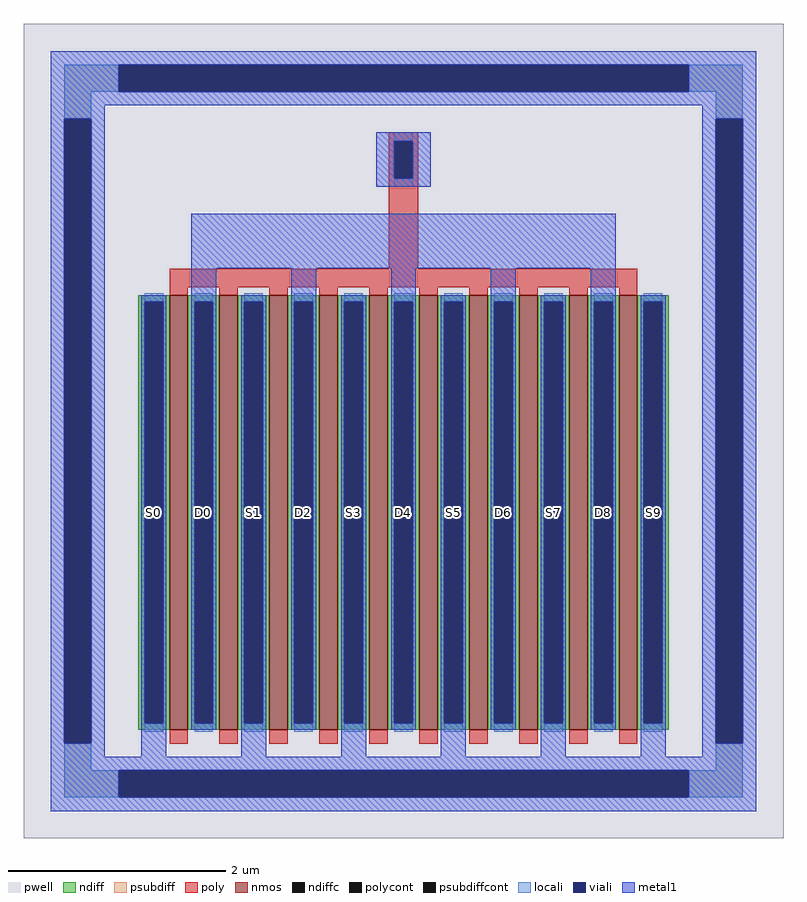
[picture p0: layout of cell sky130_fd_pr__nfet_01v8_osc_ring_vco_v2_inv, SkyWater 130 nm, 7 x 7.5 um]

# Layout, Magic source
magic
tech sky130A
magscale 1 2
<< pwell >>
rect -631 -5491 769 -3991
<< nmos >>
rect -362 -5291 -328 -4491
rect -270 -5291 -236 -4491
rect -178 -5291 -144 -4491
rect -86 -5291 -52 -4491
rect 6 -5291 40 -4491
rect 98 -5291 132 -4491
rect 190 -5291 224 -4491
rect 282 -5291 316 -4491
rect 374 -5291 408 -4491
rect 466 -5291 500 -4491
<< ndiff >>
rect -420 -4503 -362 -4491
rect -420 -5279 -408 -4503
rect -374 -5279 -362 -4503
rect -420 -5291 -362 -5279
rect -328 -4503 -270 -4491
rect -328 -5279 -316 -4503
rect -282 -5279 -270 -4503
rect -328 -5291 -270 -5279
rect -236 -4503 -178 -4491
rect -236 -5279 -224 -4503
rect -190 -5279 -178 -4503
rect -236 -5291 -178 -5279
rect -144 -4503 -86 -4491
rect -144 -5279 -132 -4503
rect -98 -5279 -86 -4503
rect -144 -5291 -86 -5279
rect -52 -4503 6 -4491
rect -52 -5279 -40 -4503
rect -6 -5279 6 -4503
rect -52 -5291 6 -5279
rect 40 -4503 98 -4491
rect 40 -5279 52 -4503
rect 86 -5279 98 -4503
rect 40 -5291 98 -5279
rect 132 -4503 190 -4491
rect 132 -5279 144 -4503
rect 178 -5279 190 -4503
rect 132 -5291 190 -5279
rect 224 -4503 282 -4491
rect 224 -5279 236 -4503
rect 270 -5279 282 -4503
rect 224 -5291 282 -5279
rect 316 -4503 374 -4491
rect 316 -5279 328 -4503
rect 362 -5279 374 -4503
rect 316 -5291 374 -5279
rect 408 -4503 466 -4491
rect 408 -5279 420 -4503
rect 454 -5279 466 -4503
rect 408 -5291 466 -5279
rect 500 -4503 558 -4491
rect 500 -5279 512 -4503
rect 546 -5279 558 -4503
rect 500 -5291 558 -5279
<< ndiffc >>
rect -408 -5279 -374 -4503
rect -316 -5279 -282 -4503
rect -224 -5279 -190 -4503
rect -132 -5279 -98 -4503
rect -40 -5279 -6 -4503
rect 52 -5279 86 -4503
rect 144 -5279 178 -4503
rect 236 -5279 270 -4503
rect 328 -5279 362 -4503
rect 420 -5279 454 -4503
rect 512 -5279 546 -4503
<< psubdiff >>
rect -556 -4116 -456 -4066
rect 594 -4116 694 -4066
rect -556 -4166 -506 -4116
rect 644 -4166 694 -4116
rect -556 -5366 -506 -5316
rect 644 -5366 694 -5316
rect -556 -5416 -456 -5366
rect 594 -5416 694 -5366
<< psubdiffcont >>
rect -456 -4116 594 -4066
rect -556 -5316 -506 -4166
rect 644 -5316 694 -4166
rect -456 -5416 594 -5366
<< poly >>
rect 42 -4207 96 -4191
rect 42 -4275 52 -4207
rect 86 -4275 96 -4207
rect 42 -4442 96 -4275
rect -362 -4476 500 -4442
rect -362 -4491 -328 -4476
rect -270 -4491 -236 -4476
rect -178 -4491 -144 -4476
rect -86 -4491 -52 -4476
rect 6 -4491 40 -4476
rect 98 -4491 132 -4476
rect 190 -4491 224 -4476
rect 282 -4491 316 -4476
rect 374 -4491 408 -4476
rect 466 -4491 500 -4476
rect -362 -5317 -328 -5291
rect -270 -5317 -236 -5291
rect -178 -5317 -144 -5291
rect -86 -5317 -52 -5291
rect 6 -5317 40 -5291
rect 98 -5317 132 -5291
rect 190 -5317 224 -5291
rect 282 -5317 316 -5291
rect 374 -5317 408 -5291
rect 466 -5317 500 -5291
<< polycont >>
rect 52 -4275 86 -4207
<< locali >>
rect -556 -4116 -456 -4066
rect 594 -4116 694 -4066
rect -556 -4166 -506 -4116
rect 644 -4166 694 -4116
rect 52 -4207 86 -4191
rect 52 -4291 86 -4275
rect -408 -4503 -374 -4487
rect -408 -5295 -374 -5279
rect -316 -4503 -282 -4487
rect -316 -5295 -282 -5279
rect -224 -4503 -190 -4487
rect -224 -5295 -190 -5279
rect -132 -4503 -98 -4487
rect -132 -5295 -98 -5279
rect -40 -4503 -6 -4487
rect -40 -5295 -6 -5279
rect 52 -4503 86 -4487
rect 52 -5295 86 -5279
rect 144 -4503 178 -4487
rect 144 -5295 178 -5279
rect 236 -4503 270 -4487
rect 236 -5295 270 -5279
rect 328 -4503 362 -4487
rect 328 -5295 362 -5279
rect 420 -4503 454 -4487
rect 420 -5295 454 -5279
rect 512 -4503 546 -4487
rect 512 -5295 546 -5279
rect -556 -5366 -506 -5316
rect 644 -5366 694 -5316
rect -556 -5416 -456 -5366
rect 594 -5416 694 -5366
<< viali >>
rect -456 -4116 594 -4066
rect -556 -5316 -506 -4166
rect 52 -4275 86 -4207
rect -408 -5279 -374 -4503
rect -316 -5279 -282 -4503
rect -224 -5279 -190 -4503
rect -132 -5279 -98 -4503
rect -40 -5279 -6 -4503
rect 52 -5279 86 -4503
rect 144 -5279 178 -4503
rect 236 -5279 270 -4503
rect 328 -5279 362 -4503
rect 420 -5279 454 -4503
rect 512 -5279 546 -4503
rect 644 -5316 694 -4166
rect -456 -5416 594 -5366
<< metal1 >>
rect -581 -4066 719 -4041
rect -581 -4116 -456 -4066
rect 594 -4116 719 -4066
rect -581 -4141 719 -4116
rect -581 -4166 -481 -4141
rect -581 -5316 -556 -4166
rect -506 -5316 -481 -4166
rect 619 -4166 719 -4141
rect 19 -4207 119 -4191
rect 19 -4275 52 -4207
rect 86 -4275 119 -4207
rect 19 -4291 119 -4275
rect -322 -4441 460 -4341
rect -581 -5341 -481 -5316
rect -414 -4503 -368 -4491
rect -414 -5279 -408 -4503
rect -374 -5279 -368 -4503
rect -414 -5341 -368 -5279
rect -322 -4503 -276 -4441
rect -322 -5279 -316 -4503
rect -282 -5279 -276 -4503
rect -322 -5291 -276 -5279
rect -230 -4503 -184 -4491
rect -230 -5279 -224 -4503
rect -190 -5279 -184 -4503
rect -230 -5341 -184 -5279
rect -138 -4503 -92 -4441
rect -138 -5279 -132 -4503
rect -98 -5279 -92 -4503
rect -138 -5291 -92 -5279
rect -46 -4503 0 -4491
rect -46 -5279 -40 -4503
rect -6 -5279 0 -4503
rect -46 -5341 0 -5279
rect 46 -4503 92 -4441
rect 46 -5279 52 -4503
rect 86 -5279 92 -4503
rect 46 -5291 92 -5279
rect 138 -4503 184 -4491
rect 138 -5279 144 -4503
rect 178 -5279 184 -4503
rect 138 -5341 184 -5279
rect 230 -4503 276 -4441
rect 230 -5279 236 -4503
rect 270 -5279 276 -4503
rect 230 -5291 276 -5279
rect 322 -4503 368 -4491
rect 322 -5279 328 -4503
rect 362 -5279 368 -4503
rect 322 -5341 368 -5279
rect 414 -4503 460 -4441
rect 414 -5279 420 -4503
rect 454 -5279 460 -4503
rect 414 -5291 460 -5279
rect 506 -4503 552 -4491
rect 506 -5279 512 -4503
rect 546 -5279 552 -4503
rect 506 -5341 552 -5279
rect 619 -5316 644 -4166
rect 694 -5316 719 -4166
rect 619 -5341 719 -5316
rect -581 -5366 719 -5341
rect -581 -5416 -456 -5366
rect 594 -5416 719 -5366
rect -581 -5441 719 -5416
<< labels >>
rlabel ndiffc -299 -4891 -299 -4891 0 D0
port 64 nsew
rlabel ndiffc -391 -4891 -391 -4891 0 S0
port 65 nsew
rlabel ndiffc -299 -4891 -299 -4891 0 D1
port 67 nsew
rlabel ndiffc -207 -4891 -207 -4891 0 S1
port 68 nsew
rlabel ndiffc -115 -4891 -115 -4891 0 D2
port 70 nsew
rlabel ndiffc -207 -4891 -207 -4891 0 S2
port 71 nsew
rlabel ndiffc -115 -4891 -115 -4891 0 D3
port 73 nsew
rlabel ndiffc -23 -4891 -23 -4891 0 S3
port 74 nsew
rlabel ndiffc 69 -4891 69 -4891 0 D4
port 76 nsew
rlabel ndiffc -23 -4891 -23 -4891 0 S4
port 77 nsew
rlabel ndiffc 69 -4891 69 -4891 0 D5
port 79 nsew
rlabel ndiffc 161 -4891 161 -4891 0 S5
port 80 nsew
rlabel ndiffc 253 -4891 253 -4891 0 D6
port 82 nsew
rlabel ndiffc 161 -4891 161 -4891 0 S6
port 83 nsew
rlabel ndiffc 253 -4891 253 -4891 0 D7
port 85 nsew
rlabel ndiffc 345 -4891 345 -4891 0 S7
port 86 nsew
rlabel ndiffc 345 -4891 345 -4891 0 S8
port 89 nsew
rlabel ndiffc 437 -4891 437 -4891 0 D8
port 88 nsew
rlabel ndiffc 437 -4891 437 -4891 0 D9
port 91 nsew
rlabel ndiffc 529 -4891 529 -4891 0 S9
port 92 nsew
<< end >>
